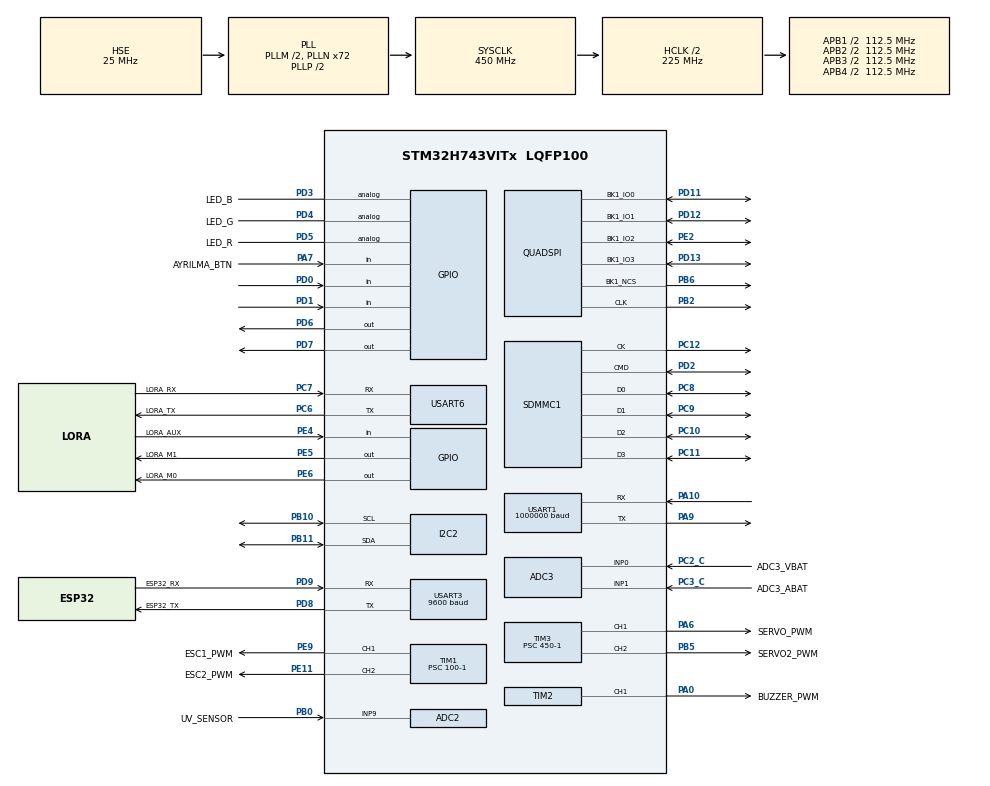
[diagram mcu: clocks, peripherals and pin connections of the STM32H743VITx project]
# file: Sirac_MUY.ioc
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ADC2.Channel-1\#ChannelRegularConversion=ADC_CHANNEL_9
ADC2.DiscontinuousConvMode=ENABLE
ADC2.NbrOfConversionFlag=1
ADC2.NbrOfDiscConversion=8
ADC2.OffsetNumber-1\#ChannelRegularConversion=ADC_OFFSET_NONE
ADC2.OffsetSignedSaturation-1\#ChannelRegularConversion=DISABLE
ADC2.Rank-1\#ChannelRegularConversion=1
ADC2.SamplingTime-1\#ChannelRegularConversion=ADC_SAMPLETIME_1CYCLE_5
ADC3.Channel-0\#ChannelRegularConversion=ADC_CHANNEL_0
ADC3.Channel-1\#ChannelRegularConversion=ADC_CHANNEL_0
ADC3.ContinuousConvMode=DISABLE
ADC3.DiscontinuousConvMode=ENABLE
ADC3.NbrOfConversion=2
ADC3.NbrOfConversionFlag=1
ADC3.NbrOfDiscConversion=8
ADC3.OffsetNumber-0\#ChannelRegularConversion=ADC_OFFSET_NONE
ADC3.OffsetNumber-1\#ChannelRegularConversion=ADC_OFFSET_NONE
ADC3.OffsetSignedSaturation-0\#ChannelRegularConversion=DISABLE
ADC3.OffsetSignedSaturation-1\#ChannelRegularConversion=DISABLE
ADC3.Rank-0\#ChannelRegularConversion=1
ADC3.Rank-1\#ChannelRegularConversion=2
ADC3.SamplingTime-0\#ChannelRegularConversion=ADC_SAMPLETIME_810CYCLES_5
ADC3.SamplingTime-1\#ChannelRegularConversion=ADC_SAMPLETIME_810CYCLES_5
CORTEX_M7.CPU_ICache=Enabled
CORTEX_M7.Enable-Cortex_Memory_Protection_Unit_Region0_Settings=MPU_REGION_ENABLE
CORTEX_M7.MPU_Control=MPU_PRIVILEGED_DEFAULT
CORTEX_M7.Size-Cortex_Memory_Protection_Unit_Region0_Settings=MPU_REGION_SIZE_4KB
Dma.Request0=USART6_RX
Dma.Request1=USART6_TX
Dma.USART6_RX.0.Direction=DMA_PERIPH_TO_MEMORY
Dma.USART6_RX.0.EventEnable=DISABLE
Dma.USART6_RX.0.FIFOMode=DMA_FIFOMODE_DISABLE
Dma.USART6_RX.0.Instance=DMA2_Stream0
Dma.USART6_RX.0.MemDataAlignment=DMA_MDATAALIGN_BYTE
Dma.USART6_RX.0.MemInc=DMA_MINC_ENABLE
Dma.USART6_RX.0.Mode=DMA_CIRCULAR
Dma.USART6_RX.0.PeriphDataAlignment=DMA_PDATAALIGN_BYTE
Dma.USART6_RX.0.PeriphInc=DMA_PINC_DISABLE
Dma.USART6_RX.0.Polarity=HAL_DMAMUX_REQ_GEN_RISING
Dma.USART6_RX.0.Priority=DMA_PRIORITY_VERY_HIGH
Dma.USART6_RX.0.RequestNumber=1
Dma.USART6_RX.0.SignalID=NONE
Dma.USART6_RX.0.SyncEnable=DISABLE
Dma.USART6_RX.0.SyncPolarity=HAL_DMAMUX_SYNC_NO_EVENT
Dma.USART6_RX.0.SyncRequestNumber=1
Dma.USART6_RX.0.SyncSignalID=NONE
Dma.USART6_TX.1.Direction=DMA_MEMORY_TO_PERIPH
Dma.USART6_TX.1.EventEnable=DISABLE
Dma.USART6_TX.1.FIFOMode=DMA_FIFOMODE_DISABLE
Dma.USART6_TX.1.Instance=DMA2_Stream1
Dma.USART6_TX.1.MemDataAlignment=DMA_MDATAALIGN_BYTE
Dma.USART6_TX.1.MemInc=DMA_MINC_ENABLE
Dma.USART6_TX.1.Mode=DMA_NORMAL
Dma.USART6_TX.1.PeriphDataAlignment=DMA_PDATAALIGN_BYTE
Dma.USART6_TX.1.PeriphInc=DMA_PINC_DISABLE
Dma.USART6_TX.1.Polarity=HAL_DMAMUX_REQ_GEN_RISING
Dma.USART6_TX.1.Priority=DMA_PRIORITY_HIGH
Dma.USART6_TX.1.RequestNumber=1
Dma.USART6_TX.1.SignalID=NONE
Dma.USART6_TX.1.SyncEnable=DISABLE
Dma.USART6_TX.1.SyncPolarity=HAL_DMAMUX_SYNC_NO_EVENT
Dma.USART6_TX.1.SyncRequestNumber=1
Dma.USART6_TX.1.SyncSignalID=NONE
FATFS._MAX_SS=4096
FREERTOS.BinarySemaphores01=uartLoraSema,Dynamic,NULL
FREERTOS.Tasks01=MotorTask,40,256,StartMotorTask,Default,NULL,Dynamic,NULL,NULL;DataComTask,32,1500,StartDataCom,Default,NULL,Dynamic,NULL,NULL;SensorsTask,48,512,StartSensors,Default,NULL,Dynamic,NULL,NULL
FREERTOS.Timers01=TelemetriTimer,TelemTimCall,osTimerOnce,Default,NULL,Dynamic,NULL;TimeoutTimer,TimeoutTimerCall,osTimerOnce,Default,selectedFlag,Dynamic,NULL;TahrikTimer,TahrikTimerCall,osTimerOnce,Default,NULL,Dynamic,NULL
FREERTOS.configENABLE_FPU=1
FREERTOS.configMINIMAL_STACK_SIZE=256
FREERTOS.configTIMER_TASK_STACK_DEPTH=512
FREERTOS.configUSE_NEWLIB_REENTRANT=1
Mcu.Family=STM32H7
Mcu.Name=STM32H743VITx
Mcu.Package=LQFP100
NVIC.DMA2_Stream0_IRQn=true\:0\:0\:false\:false\:true\:false\:false\:true\:true
NVIC.DMA2_Stream1_IRQn=true\:5\:0\:false\:false\:true\:true\:false\:true\:true
NVIC.PriorityGroup=NVIC_PRIORITYGROUP_4
NVIC.QUADSPI_IRQn=true\:5\:0\:false\:false\:true\:true\:true\:true\:true
NVIC.SDMMC1_IRQn=true\:5\:0\:false\:false\:true\:true\:true\:true\:true
NVIC.TIM8_UP_TIM13_IRQn=true\:15\:0\:false\:false\:true\:false\:false\:true\:true
NVIC.TimeBase=TIM8_UP_TIM13_IRQn
NVIC.TimeBaseIP=TIM8
NVIC.USART3_IRQn=true\:5\:0\:false\:false\:true\:true\:true\:true\:true
NVIC.USART6_IRQn=true\:5\:0\:false\:false\:true\:true\:true\:true\:true
PA0.GPIO_Label=BUZZER_PWM
PA0.Signal=S_TIM2_CH1_ETR
PA10.Mode=Asynchronous
PA10.Signal=USART1_RX
PA13\ (JTMS/SWDIO).Mode=Serial_Wire
PA13\ (JTMS/SWDIO).Signal=DEBUG_JTMS-SWDIO
PA14\ (JTCK/SWCLK).Mode=Serial_Wire
PA14\ (JTCK/SWCLK).Signal=DEBUG_JTCK-SWCLK
PA6.GPIO_Label=SERVO_PWM
PA6.Signal=S_TIM3_CH1
PA7.GPIO_Label=AYRILMA_BTN
PA7.GPIO_PuPd=GPIO_PULLUP
PA7.Signal=GPIO_Input
PA9.Mode=Asynchronous
PA9.Signal=USART1_TX
PB0.GPIO_Label=UV_SENSOR
PB0.Signal=ADCx_INP9
PB10.Mode=I2C
PB10.Signal=I2C2_SCL
PB11.Mode=I2C
PB11.Signal=I2C2_SDA
PB2.Mode=Single Bank 1
PB2.Signal=QUADSPI_CLK
PB5.GPIO_Label=SERVO2_PWM
PB5.Signal=S_TIM3_CH2
PB6.Mode=Single Bank 1
PB6.Signal=QUADSPI_BK1_NCS
PC10.Mode=SD_4_bits_Wide_bus
PC10.Signal=SDMMC1_D2
PC11.Mode=SD_4_bits_Wide_bus
PC11.Signal=SDMMC1_D3
PC12.Mode=SD_4_bits_Wide_bus
PC12.Signal=SDMMC1_CK
PC14-OSC32_IN\ (OSC32_IN).Mode=LSE-External-Oscillator
PC14-OSC32_IN\ (OSC32_IN).Signal=RCC_OSC32_IN
PC15-OSC32_OUT\ (OSC32_OUT).Mode=LSE-External-Oscillator
PC15-OSC32_OUT\ (OSC32_OUT).Signal=RCC_OSC32_OUT
PC2_C.GPIO_Label=ADC3_VBAT
PC2_C.Mode=IN0-Single-Ended
PC2_C.Signal=ADC3_INP0
PC3_C.GPIO_Label=ADC3_ABAT
PC3_C.Mode=IN1-Single-Ended
PC3_C.Signal=ADC3_INP1
PC6.GPIO_Label=LORA_TX
PC6.Mode=Asynchronous
PC6.Signal=USART6_TX
PC7.GPIO_Label=LORA_RX
PC7.Mode=Asynchronous
PC7.Signal=USART6_RX
PC8.Mode=SD_4_bits_Wide_bus
PC8.Signal=SDMMC1_D0
PC9.Mode=SD_4_bits_Wide_bus
PC9.Signal=SDMMC1_D1
PD0.GPIO_PuPd=GPIO_PULLDOWN
PD0.Signal=GPIO_Input
PD1.GPIO_PuPd=GPIO_PULLDOWN
PD1.Signal=GPIO_Input
PD11.Mode=Single Bank 1
PD11.Signal=QUADSPI_BK1_IO0
PD12.Mode=Single Bank 1
PD12.Signal=QUADSPI_BK1_IO1
PD13.Mode=Single Bank 1
PD13.Signal=QUADSPI_BK1_IO3
PD2.Mode=SD_4_bits_Wide_bus
PD2.Signal=SDMMC1_CMD
PD3.GPIO_Label=LED_B
PD3.Signal=GPIO_Analog
PD4.GPIO_Label=LED_G
PD4.Signal=GPIO_Analog
PD5.GPIO_Label=LED_R
PD5.Signal=GPIO_Analog
PD6.GPIO_PuPd=GPIO_PULLDOWN
PD6.Signal=GPIO_Output
PD7.GPIO_PuPd=GPIO_PULLDOWN
PD7.Signal=GPIO_Output
PD8.GPIO_Label=ESP32_TX
PD8.Mode=Asynchronous
PD8.Signal=USART3_TX
PD9.GPIO_Label=ESP32_RX
PD9.Mode=Asynchronous
PD9.Signal=USART3_RX
PE11.GPIO_Label=ESC2_PWM
PE11.Signal=S_TIM1_CH2
PE13.Signal=S_TIM1_CH3
PE2.Mode=Single Bank 1
PE2.Signal=QUADSPI_BK1_IO2
PE4.GPIO_Label=LORA_AUX
PE4.Signal=GPIO_Input
PE5.GPIO_Label=LORA_M1
PE5.GPIO_ModeDefaultOutputPP=GPIO_MODE_OUTPUT_PP
PE5.GPIO_PuPd=GPIO_PULLDOWN
PE5.Signal=GPIO_Output
PE6.GPIO_Label=LORA_M0
PE6.GPIO_PuPd=GPIO_PULLDOWN
PE6.Signal=GPIO_Output
PE9.GPIO_Label=ESC1_PWM
PE9.Signal=S_TIM1_CH1
PH0-OSC_IN\ (PH0).Mode=HSE-External-Oscillator
PH0-OSC_IN\ (PH0).Signal=RCC_OSC_IN
PH1-OSC_OUT\ (PH1).Mode=HSE-External-Oscillator
PH1-OSC_OUT\ (PH1).Signal=RCC_OSC_OUT
ProjectManager.HeapSize=0x400
ProjectManager.StackSize=0x800
ProjectManager.TargetToolchain=STM32CubeIDE
QUADSPI.ChipSelectHighTime=QSPI_CS_HIGH_TIME_6_CYCLE
QUADSPI.ClockPrescaler=6
QUADSPI.FifoThreshold=4
QUADSPI.FlashSize=22
QUADSPI.SampleShifting=QSPI_SAMPLE_SHIFTING_HALFCYCLE
RCC.ADCFreq_Value=37500000
RCC.APB1Freq_Value=112500000
RCC.APB2Freq_Value=112500000
RCC.APB3Freq_Value=112500000
RCC.APB4Freq_Value=112500000
RCC.CortexFreq_Value=450000000
RCC.D1PPRE=RCC_APB3_DIV2
RCC.D2PPRE1=RCC_APB1_DIV2
RCC.D2PPRE2=RCC_APB2_DIV2
RCC.D3PPRE=RCC_APB4_DIV2
RCC.DIVM1=2
RCC.DIVM2=2
RCC.DIVM3=21
RCC.DIVN1=72
RCC.DIVN2=12
RCC.DIVN3=126
RCC.DIVP2=4
RCC.DIVQ1=6
RCC.EnbaleCSS=false
RCC.FLatency-AdvancedSettings=FLASH_LATENCY_0
RCC.HCLKFreq_Value=225000000
RCC.HPRE=RCC_HCLK_DIV2
RCC.HSE_VALUE=25000000
RCC.I2C123CLockSelection=RCC_I2C123CLKSOURCE_HSI
RCC.PLL1_VCO_SEL-AdvancedSettings=RCC_PLL1VCOMEDIUM
RCC.PLL2FRACN=0
RCC.PLL2_VCI_Range-AdvancedSettings=RCC_PLL2VCIRANGE_0
RCC.PLL2_VCO_SEL-AdvancedSettings=RCC_PLL2VCOWIDE
RCC.PLL3FRACN=0
RCC.PLL3_VCI_Range-AdvancedSettings=RCC_PLL3VCIRANGE_0
RCC.PLLFRACN=0
RCC.PLLSourceVirtual=RCC_PLLSOURCE_HSE
RCC.QSPICLockSelection=RCC_QSPICLKSOURCE_PLL
RCC.SDMMC1CLockSelection=RCC_SDMMCCLKSOURCE_PLL2
RCC.SYSCLKFreq_VALUE=450000000
RCC.SYSCLKSource=RCC_SYSCLKSOURCE_PLLCLK
RCC.USART16CLockSelection=RCC_USART16CLKSOURCE_PLL2
RCC.USART234578CLockSelection=RCC_USART234578CLKSOURCE_PLL3
RCC.USBFreq_Value=150000000
SDMMC1.ClockDiv=4
SH.ADCx_INP9.0=ADC2_INP9,IN9-Single-Ended
SH.S_TIM1_CH1.0=TIM1_CH1,PWM Generation1 CH1
SH.S_TIM1_CH2.0=TIM1_CH2,PWM Generation2 CH2
SH.S_TIM1_CH3.0=TIM1_CH3
SH.S_TIM2_CH1_ETR.0=TIM2_CH1,Output Compare1 CH1
SH.S_TIM3_CH1.0=TIM3_CH1,PWM Generation1 CH1
SH.S_TIM3_CH2.0=TIM3_CH2,PWM Generation2 CH2
TIM1.AutoReloadPreload=TIM_AUTORELOAD_PRELOAD_ENABLE
TIM1.Channel-PWM\ Generation1\ CH1=TIM_CHANNEL_1
TIM1.Channel-PWM\ Generation2\ CH2=TIM_CHANNEL_2
TIM1.ClockDivision=TIM_CLOCKDIVISION_DIV1
TIM1.Period=5000-1
TIM1.Prescaler=100-1
TIM2.AutoReloadPreload=TIM_AUTORELOAD_PRELOAD_ENABLE
TIM2.Channel-Output\ Compare1\ CH1=TIM_CHANNEL_1
TIM2.OCMode_1=TIM_OCMODE_TOGGLE
TIM2.Period=48-1
TIM2.Prescaler=18000-1
TIM3.AutoReloadPreload=TIM_AUTORELOAD_PRELOAD_ENABLE
TIM3.Channel-PWM\ Generation1\ CH1=TIM_CHANNEL_1
TIM3.Channel-PWM\ Generation2\ CH2=TIM_CHANNEL_2
TIM3.Period=10000-1
TIM3.Prescaler=450-1
USART1.BaudRate=1000000
USART1.VirtualMode-Asynchronous=VM_ASYNC
USART3.AutoBaudRateEnableParam=UART_ADVFEATURE_AUTOBAUDRATE_DISABLE
USART3.BaudRate=9600
USART3.Mode=MODE_RX
USART3.RxPinLevelInvertParam=ADVFEATURE_RXINV_DISABLE
USART3.TxPinLevelInvertParam=ADVFEATURE_TXINV_DISABLE
USART3.VirtualMode-Asynchronous=VM_ASYNC
USART6.VirtualMode=VM_ASYNC
VP_FATFS_VS_SDIO.Mode=SDIO
VP_FREERTOS_VS_CMSIS_V2.Mode=CMSIS_V2
VP_RTC_VS_RTC_Activate.Mode=RTC_Enabled
VP_SYS_VS_tim8.Mode=TIM8
VP_TIM1_VS_ClockSourceINT.Mode=Internal
VP_TIM2_VS_ClockSourceINT.Mode=Internal
VP_TIM3_VS_ClockSourceINT.Mode=Internal
board=custom

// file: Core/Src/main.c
/* USER CODE BEGIN Header */
/**
 ******************************************************************************
 * @file           : main.c
 * @brief          : Main program body
 ******************************************************************************
 * @attention
 *
 * Copyright (c) 2022 STMicroelectronics.
 * All rights reserved.
 *
 * This software is licensed under terms that can be found in the LICENSE file
 * in the root directory of this software component.
 * If no LICENSE file comes with this software, it is provided AS-IS.
 *
 ******************************************************************************
 */
/* USER CODE END Header */
#include "main.h"
#include "cmsis_os.h"
#include "adc.h"
#include "dma.h"
#include "fatfs.h"
#include "i2c.h"
#include "quadspi.h"
#include "rtc.h"
#include "sdmmc.h"
#include "tim.h"
#include "usart.h"
#include "gpio.h"

/* USER CODE BEGIN Includes */
#include "string.h"
#include "userDef/userDef.h"
#include <math.h>
#include "stdlib.h"

/* USER CODE END Includes */

/* USER CODE BEGIN PTD */
uint8_t gps_rx_i = 0, gps_rx_d = 0, esp_rx_i = 0, esp_rx_d = 0, lora_rx_i = 0,
		lora_rx_d = 0, gpsFlag = 0, espFlag = 0, loraFlag = 0,
		gpsGroundAltFlag = 0;

ModelUydu_typedef siracUydu = { .ArmDurumu = DISARM, .PilGerilimi = 0.0f,
		.ayrilmaDurumu = AYRILMADI, .donanimDurumu = 1023, .motorKontrolDurumu =
				DEVRE_DISI, .uyduDurumu = BEKLEME };
TimersFlag_typedef timersFlag;

//uint8_t GPS_line[MINMEA_MAX_LENGTH + 1];
uint8_t ESP_line[ESP32_MAX_LENGTH + 1];
uint8_t LORA_line[LORA_MAX_LENGTH + 1];

UartFlags_typedef uartFlag;

FIL fileSD;
FATFS fatfsSD;
/* USER CODE END PTD */

void SystemClock_Config(void);
void PeriphCommonClock_Config(void);
static void MPU_Config(void);
void MX_FREERTOS_Init(void);

/* USER CODE BEGIN 0 */
int _write(int file, char *ptr, int len) {
	HAL_UART_Transmit(&huart1, (uint8_t*) ptr, len, 100);
	return len;
}

void HAL_UART_RxCpltCallback(UART_HandleTypeDef *huart) {
	BaseType_t xHigherPriorityTaskWoken = pdFALSE;

	if (huart == &huart3) {
		if (esp_rx_d != '\n' && esp_rx_i < sizeof(ESP_line)) //Read until end of senctence
				{
			ESP_line[esp_rx_i++] = esp_rx_d;
		} else {
			/*******Reset variables*********/
			//SET_FLAG(uartFlag, UART_ESP);
		}
		HAL_UART_Receive_IT(&huart3, &esp_rx_d, 1);	//Receive GPS char on every interrupt
	}
	portYIELD_FROM_ISR(xHigherPriorityTaskWoken);

}

void HAL_UARTEx_RxEventCallback(UART_HandleTypeDef *huart, uint16_t Size) {

	BaseType_t xHigherPriorityTaskWoken = pdFALSE;
	if (huart == LORA_UART) {
		HAL_UART_DMAStop(LORA_UART);
		SET_FLAG(uartFlag, UART_LORA);
	}
	portYIELD_FROM_ISR(xHigherPriorityTaskWoken);

}

void enableINT() {
	HAL_UARTEx_ReceiveToIdle_DMA(LORA_UART, LORA_line, LORA_MAX_LENGTH);
	__HAL_DMA_DISABLE_IT(&hdma_usart6_rx, DMA_IT_HT);
	/*
	 HAL_UARTEx_ReceiveToIdle_DMA(ESP_UART, ESP_line, ESP32_MAX_LENGTH);
	 __HAL_DMA_DISABLE_IT(&hdma_usart3_rx, DMA_IT_HT);
	 */
	HAL_UART_Receive_IT(&huart3, &esp_rx_d, 1); //Enable UART INT for gps
}

void enableHardware() {
	enableBaro();
	enableFlash();
//EraseFlash(1);
	enableSD();
	getPacketNum();
	getFlightState();
	enableGPS();
	enableIMU();
	enableUV();
	enableINT();
	enableTelemetry();
	vbat_ADC_Calibrate();
	kalmanFilter4d_configure(KF_ACCELBIAS_VARIANCE, KF_ADAPT,
			siracUydu.sensorVerisi.irtifHizVerisi.Altitude_cm, 0.0f, 0.0f);
//check ground station;

	siracUydu.ESP32Durumu.WifiSinyalGucu = 0;
	siracUydu.ESP32Durumu.videoPaketBilgisi.AktarilmaBilgisi =
	VIDEO_AKTARILAMADI;
	siracUydu.ESP32Durumu.videoPaketBilgisi.DosyaBoyutu = 0;

	siracUydu.sensorVerisi.kararAraliklari.BeklemedeYukseklik_max = 5;

	siracUydu.sensorVerisi.kararAraliklari.InisHizi_max =
	ASKIDAN_ONCE_INIS_HIZI_MAX;
	siracUydu.sensorVerisi.kararAraliklari.InisHizi_min =
	ASKIDAN_ONCE_INIS_HIZI_MIN;

	siracUydu.sensorVerisi.kararAraliklari.PilGerilimi_max = 4.2 * 3;
	siracUydu.sensorVerisi.kararAraliklari.PilGerilimi_min = 2.7 * 3;

	siracUydu.telemetri.GY_telemetriVeriDurumu = TELEMETRI_VERISI_GEREKLI;
	strcpy(siracUydu.telemetri.tasiyiciTelemetri.gps2,
			"0.00000000,0.00000000,0.0");
	siracUydu.telemetri.tasiyiciTelemetri.YerYukseklik = 0.0f;
	siracUydu.telemetri.tasiyiciTelemetri.detect = 0;
}

void checkSensorHealth() {
	if (siracUydu.sensorVerisi.irtifHizVerisi.RelativeAltitude_m
			< SAGLIKLI_YUKSEKLIK_MIN
			|| siracUydu.sensorVerisi.irtifHizVerisi.RelativeAltitude_m
					> SAGLIKLI_YUKSEKLIK_MAX)
		SET_SENS_ERR(siracUydu.sensorVerisi.sensorVeriSagligi,
				yukseklik_aralik_disinda);
	if (siracUydu.sensorVerisi.baro.Pres_hpa < SAGLIKLI_BASINC_MIN
			|| siracUydu.sensorVerisi.baro.Pres_hpa > SAGLIKLI_BASINC_MAX)
		SET_SENS_ERR(siracUydu.sensorVerisi.sensorVeriSagligi,
				basinc_aralik_disinda);
	if (siracUydu.sensorVerisi.irtifHizVerisi.KFClimbrateMps
			< SAGLIKLI_DIKEYHIZ_MIN
			|| siracUydu.sensorVerisi.irtifHizVerisi.KFClimbrateMps
					> SAGLIKLI_DIKEYHIZ_MAX)
		SET_SENS_ERR(siracUydu.sensorVerisi.sensorVeriSagligi,
				dikeyHiz_aralik_disinda);
	if (siracUydu.sensorVerisi.imu.pitch < SAGLIKLI_PITCH_MIN
			|| siracUydu.sensorVerisi.imu.pitch > SAGLIKLI_PITCH_MAX)
		SET_SENS_ERR(siracUydu.sensorVerisi.sensorVeriSagligi,
				pitch_aralik_disinda);
	if (siracUydu.sensorVerisi.imu.roll < SAGLIKLI_ROLL_MIN
			|| siracUydu.sensorVerisi.imu.roll > SAGLIKLI_ROLL_MAX)
		SET_SENS_ERR(siracUydu.sensorVerisi.sensorVeriSagligi,
				roll_aralik_disinda);
	if (siracUydu.sensorVerisi.baro.Temp_C < SAGLIKLI_SICAKLIK_MIN
			|| siracUydu.sensorVerisi.baro.Temp_C > SAGLIKLI_SICAKLIK_MAX)
		SET_SENS_ERR(siracUydu.sensorVerisi.sensorVeriSagligi,
				sicaklik_aralik_disinda);
}

void HeartBeat() {
	checkSensorHealth();
	char buff[10];
	snprintf(buff, 10, "%d,%d", siracUydu.donanimDurumu,
			siracUydu.sensorVerisi.sensorVeriSagligi);
	strcat(siracUydu.telemetri.telemetriPaketi, buff);
}

void findFlightState() {
	switch (siracUydu.uyduDurumu) {
	case BEKLEME:
		sprintf(siracUydu.telemetri.uyduStatu, "%s", "Bekleme");
		if (siracUydu.ArmDurumu
				& (siracUydu.sensorVerisi.irtifHizVerisi.RelativeAltitude_m
						> YUKSELME_IRTIFA_TETIKLEME
						&& siracUydu.sensorVerisi.irtifHizVerisi.KFClimbrateMps
								> YUKSELME_HIZ_TETIKLEME)) {
			siracUydu.uyduDurumu = YUKSELME;
		}
		break;

	case YUKSELME:
		sprintf(siracUydu.telemetri.uyduStatu, "%s", "Yukselme");

		if (siracUydu.sensorVerisi.irtifHizVerisi.KFClimbrateMps < 0
				&& siracUydu.sensorVerisi.irtifHizVerisi.RelativeAltitude_m
						< siracUydu.sensorVerisi.irtifHizVerisi.PrevAltitude_m) {
			siracUydu.uyduDurumu = MU_INIS;
		}

		break;

	case MU_INIS:
		sprintf(siracUydu.telemetri.uyduStatu, "%s", "MUinis");
		if (				siracUydu.sensorVerisi.irtifHizVerisi.RelativeAltitude_m<AYRILMA_YUKSEKLIGI_MAX) {
			siracUydu.uyduDurumu = AYRILMA;
			CLEAR_FLAG(timersFlag, AyrilmaTimeoutFlag);
		}
		break;

	case AYRILMA:
		sprintf(siracUydu.telemetri.uyduStatu, "%s", "Ayrilma");
		servoTahrik(SERVO_KAPAT);
		//startTimer
		if (!osTimerIsRunning(TimeoutTimerHandle)) {
			selectedFlag = AyrilmaTimeoutFlag;
			osTimerStart(TimeoutTimerHandle,
					pdMS_TO_TICKS(AYRILMA_SURESI_MAX_MS));
		}
		if (siracUydu.ayrilmaDurumu
				!= AYRILDI&& !CHECK_FLAG(timersFlag,AyrilmaTimeoutFlag)) //timer interrupt ile tetiklenecek
				{
			if (HAL_GPIO_ReadPin(AYRILMA_BTN_GPIO_Port, AYRILMA_BTN_Pin)
					== GPIO_PIN_SET) {
				osTimerStop(TimeoutTimerHandle);
				siracUydu.ayrilmaDurumu = AYRILDI;
				siracUydu.uyduDurumu = GY_INIS1;
			}
		}
		if (CHECK_FLAG(timersFlag, AyrilmaTimeoutFlag)) {
			siracUydu.ayrilmaDurumu = MANUEL_AYRILMA_GEREKLI;
			servoTahrik(SERVO_KAPAT);
			_managedDelay(1000);
			servoTahrik(SERVO_AC);
			CLEAR_FLAG(timersFlag, AyrilmaTimeoutFlag);
			_managedDelay(1000);
			if (HAL_GPIO_ReadPin(AYRILMA_BTN_GPIO_Port, AYRILMA_BTN_Pin)
					== GPIO_PIN_SET) {
				siracUydu.ayrilmaDurumu = AYRILDI;
				siracUydu.uyduDurumu = GY_INIS1;
				CLEAR_FLAG(timersFlag, AyrilmaTimeoutFlag);
			}
		}
		break;

	case GY_INIS1:
		sprintf(siracUydu.telemetri.uyduStatu, "%s", "GYinis");
		siracUydu.sensorVerisi.kararAraliklari.InisHizi_max =
		ASKIDAN_ONCE_INIS_HIZI_MAX;
		siracUydu.sensorVerisi.kararAraliklari.InisHizi_min =
		ASKIDAN_ONCE_INIS_HIZI_MIN;
		siracUydu.sensorVerisi.kararAraliklari.InisHizi =
		ASKIDAN_ONCE_INIS_HIZI;
		HAL_Delay(1000);
		siracUydu.motorKontrolDurumu = OTOMATIK_INIS;

		if (siracUydu.sensorVerisi.irtifHizVerisi.RelativeAltitude_m
				<= ASKI_GOREV_BASLAMA_YUKSEKLIGI_MAX) {
			siracUydu.uyduDurumu = ASKIDA;
			CLEAR_FLAG(timersFlag, AskiTimeoutFlag);
			selectedFlag = AskiTimeoutFlag;
			siracUydu.sensorVerisi.kararAraliklari.InisHizi_max =
			ASKIDA_INIS_HIZI_MAX;
			siracUydu.sensorVerisi.kararAraliklari.InisHizi_min =
			ASKIDA_INIS_HIZI_MIN;
			siracUydu.sensorVerisi.kararAraliklari.InisHizi = ASKIDA_INIS_HIZI;
		}
		break;

	case ASKIDA:
		if (!osTimerIsRunning(
				TimeoutTimerHandle) && !CHECK_FLAG(timersFlag, AskiTimeoutFlag)) {
			osTimerStart(TimeoutTimerHandle, pdMS_TO_TICKS(10 * 1000));
		}
		if (CHECK_FLAG(timersFlag, AskiTimeoutFlag)) {
			siracUydu.uyduDurumu = GY_INIS2;
			siracUydu.sensorVerisi.kararAraliklari.InisHizi_max =
			ASKIDAN_SONRA_INIS_HIZI_MAX;
			siracUydu.sensorVerisi.kararAraliklari.InisHizi_min =
			ASKIDAN_SONRA_INIS_HIZI_MIN;
			siracUydu.sensorVerisi.kararAraliklari.InisHizi =
			ASKIDAN_SONRA_INIS_HIZI;
		}
		break;

	case GY_INIS2:
		sprintf(siracUydu.telemetri.uyduStatu, "%s", "GYinis");
		siracUydu.motorKontrolDurumu = OTOMATIK_INIS;
		if (siracUydu.sensorVerisi.irtifHizVerisi.RelativeAltitude_m
				< KONTROLLU_INIS_BASLAMA_YUKSEKLIGI) {
			siracUydu.uyduDurumu = KONTROLLU_INIS;
			siracUydu.sensorVerisi.kararAraliklari.InisHizi_max =
			KONTROLLU_INIS_HIZI_MAX;
			siracUydu.sensorVerisi.kararAraliklari.InisHizi_min =
			KONTROLLU_INIS_HIZI_MIN;
			siracUydu.sensorVerisi.kararAraliklari.InisHizi =
			KONTROLLU_INIS_HIZI;
		}
		break;

	case KONTROLLU_INIS:
		sprintf(siracUydu.telemetri.uyduStatu, "%s", "Kinis");
		if (siracUydu.sensorVerisi.irtifHizVerisi.RelativeAltitude_m < 5) {
			siracUydu.motorKontrolDurumu = DEVRE_DISI;
			siracUydu.uyduDurumu = KURTARMA;
		}
		break;

	case KURTARMA:
		sprintf(siracUydu.telemetri.uyduStatu, "%s", "Kurtarma");
		selectedFlag = kurtarmaTelemetriTimeoutFlag;
		playRescue();
		if (!osTimerIsRunning(
				TimeoutTimerHandle) && !CHECK_FLAG(timersFlag, kurtarmaTelemetriTimeoutFlag)) {
			osTimerStart(TimeoutTimerHandle, pdMS_TO_TICKS(60 * 1000));
		}
		if (CHECK_FLAG(timersFlag, kurtarmaTelemetriTimeoutFlag)) {
			siracUydu.telemetri.GY_telemetriVeriDurumu =
					TELEMETRI_VERISI_GEREKLI_DEGIL;
			osTimerStop(TelemetriTimerHandle);
		}
		break;
	}
}

void sendTelem() {
	char telemPacket1[95] = { '\0' };
	RTC_TimeTypeDef time;
	RTC_DateTypeDef date;
	HAL_RTC_GetTime(&hrtc, &time, RTC_FORMAT_BIN);
	HAL_RTC_GetDate(&hrtc, &date, RTC_FORMAT_BIN);
	char telemP[250] = { '\0' };
	int siz = 0;
	siz = snprintf((char*) telemPacket1, 90,
			"467710,%d,%02d/%02d/%d %02d:%02d:%02d",
			siracUydu.telemetri.paketNo, date.Date, date.Month, date.Year,
			time.Hours, time.Minutes, time.Seconds);
	LoRaE22_sendStruct((uint8_t*) telemPacket1, siz);

	siz = snprintf((char*) telemPacket1, 90, ",%.2f,%.2f,%.2f,%.2f",
			siracUydu.sensorVerisi.baro.avgPres_hpa * (float) 100.0f,
			siracUydu.telemetri.tasiyiciTelemetri.basinc,
			siracUydu.sensorVerisi.irtifHizVerisi.RelativeAltitude_m,
			siracUydu.telemetri.tasiyiciTelemetri.yukseklik);
	LoRaE22_sendStruct((uint8_t*) telemPacket1, siz);

	siz = snprintf((char*) telemPacket1, 90, ",%.2f,%.2f,%.2f,%.1f",
			fabs(
					siracUydu.sensorVerisi.irtifHizVerisi.RelativeAltitude_m
							- siracUydu.telemetri.tasiyiciTelemetri.yukseklik),
			siracUydu.sensorVerisi.irtifHizVerisi.KFClimbrateMps,
			siracUydu.sensorVerisi.baro.Temp_C, siracUydu.PilGerilimi);
	LoRaE22_sendStruct((uint8_t*) telemPacket1, siz);

	siz = snprintf((char*) telemPacket1, 90, ",%.8f,%.8f,%.2f",
			siracUydu.sensorVerisi.gps.latitude,
			siracUydu.sensorVerisi.gps.longitude,
			siracUydu.sensorVerisi.gps.altitude);
	LoRaE22_sendStruct((uint8_t*) telemPacket1, siz);

	siz = snprintf((char*) telemPacket1, 90, ",%s,%s",
			siracUydu.telemetri.tasiyiciTelemetri.gps2,
			siracUydu.telemetri.uyduStatu);
	LoRaE22_sendStruct((uint8_t*) telemPacket1, siz);

	siz = snprintf((char*) telemPacket1, 90, ",%.2f,%.2f,%.2f,%d,%s,",
			siracUydu.sensorVerisi.imu.pitch, siracUydu.sensorVerisi.imu.roll,
			siracUydu.sensorVerisi.imu.yaw, siracUydu.telemetri.donusSayisi,
			siracUydu.ESP32Durumu.videoPaketBilgisi.AktarilmaBilgisi ?
					"EVET" : "HAYIR");
	LoRaE22_sendStruct((uint8_t*) telemPacket1, siz);

	siz = snprintf((char*) telemPacket1, 90, "%.2f,%d,%d,%d,%d\n",
			siracUydu.sensorVerisi.UV_sensor,
			siracUydu.ESP32Durumu.WifiSinyalGucu, siracUydu.ArmDurumu,
			siracUydu.donanimDurumu, siracUydu.ayrilmaDurumu);
	LoRaE22_sendStruct((uint8_t*) telemPacket1, siz);

	sprintf(siracUydu.telemetri.telemetriPaketi,
			"467710,%d,%02d/%02d/%d %02d:%02d:%02d,%.2f,%.2f,%.2f,%.2f,%.2f,%.2f,%.2f,%.1f,%.8f,%.8f,%.2f,%s,%s,%.2f,%.2f,%.2f,%d,%s\n",
			siracUydu.telemetri.paketNo, date.Date, date.Month, date.Year,
			time.Hours, time.Minutes, time.Seconds,
			siracUydu.sensorVerisi.baro.avgPres_hpa * (float) 100.0f,
			siracUydu.telemetri.tasiyiciTelemetri.basinc,
			siracUydu.sensorVerisi.irtifHizVerisi.RelativeAltitude_m,
			siracUydu.telemetri.tasiyiciTelemetri.yukseklik,
			fabs(
					siracUydu.sensorVerisi.irtifHizVerisi.RelativeAltitude_m
							- siracUydu.telemetri.tasiyiciTelemetri.yukseklik),
			siracUydu.sensorVerisi.irtifHizVerisi.KFClimbrateMps,
			siracUydu.sensorVerisi.baro.Temp_C, siracUydu.PilGerilimi,
			siracUydu.sensorVerisi.gps.latitude,
			siracUydu.sensorVerisi.gps.longitude,
			siracUydu.sensorVerisi.gps.altitude,
			siracUydu.telemetri.tasiyiciTelemetri.gps2,
			siracUydu.telemetri.uyduStatu, siracUydu.sensorVerisi.imu.pitch,
			siracUydu.sensorVerisi.imu.roll, siracUydu.sensorVerisi.imu.yaw,
			siracUydu.telemetri.donusSayisi,
			siracUydu.ESP32Durumu.videoPaketBilgisi.AktarilmaBilgisi ?
					"EVET" : "HAYIR");
	return;
}
uint8_t ilkAcilma = 1;
void saveToSD() {
	uint32_t byteswritten;
	f_open(&fileSD, FILE_NAME, FA_OPEN_APPEND | FA_WRITE);
	if (ilkAcilma) {
		char *a =
				"Takim no,Paket no,Gonderim saati,Basinc1,Basinc2,Yukseklik1,Yukseklik2,Irtifa farki,Inis hizi,Sicaklik,Pil gerilimi,GPS1 Latitude,GPS1 Longitude,GPS1 Altitude,GPS2 Latitude,GPS2 Longitude,GPS2 Altitude,Uydu statusu,Pitch,Roll,Yaw,Donus sayisi,Video aktarimi\n";
		f_write(&fileSD, a, strlen(a), (void*) &byteswritten);
		ilkAcilma = 0;
	}
	f_write(&fileSD, siracUydu.telemetri.telemetriPaketi,
			strlen((char*) siracUydu.telemetri.telemetriPaketi),
			(void*) &byteswritten);
	f_close(&fileSD);
	return;
}

void PID(float measurement, float setpoint, uint8_t dt) {
	float err = setpoint - measurement;

	float proportional = PID_Kp * err;

	PID1.integrator = PID1.integrator
			+ 0.5 * PID_Ki * dt * (err + PID1.prevErr);

	if (PID1.integrator > PID1.limMax) {
		PID1.integrator = PID1.limMax;
	} else if (PID1.integrator < PID1.limMin) {
		PID1.integrator = PID1.limMin;
	}

	PID1.differentiator = -(2.0 * PID_Kd * (measurement - PID1.prevMeas)
			+ (2.0 * PID_tau - dt) * PID1.differentiator)
			/ (2.0 * PID_tau + dt);

	PID1.pwm = proportional + PID1.integrator + PID1.differentiator;

	if (PID1.pwm > PID1.limMax) {
		PID1.pwm = PID1.limMax;
	} else if (PID1.pwm < PID1.limMin) {
		PID1.pwm = PID1.limMin;
	} else {
		PID1.pwm = (int) round(PID1.pwm);
	}

	PID1.prevErr = err;
	PID1.prevMeas = measurement;
	return;
}
/* USER CODE END 0 */

int main(void) {

	/* MPU Configuration--------------------------------------------------------*/
	MPU_Config();

	/* Enable I-Cache---------------------------------------------------------*/
	SCB_EnableICache();

	/* MCU Configuration--------------------------------------------------------*/

	/* Reset of all peripherals , Initializes the Flash interface and the Systick. */
	HAL_Init();

	/* Configure the system clock */
	SystemClock_Config();

	/* Configure the peripherals common clocks */
	PeriphCommonClock_Config();

	/* Initialize all configured peripherals */
	MX_GPIO_Init();
	MX_DMA_Init();
	MX_ADC3_Init();
	MX_I2C2_Init();
	MX_QUADSPI_Init();
	MX_RTC_Init();
	MX_SDMMC1_SD_Init();
	MX_TIM1_Init();
	MX_TIM2_Init();
	MX_TIM3_Init();
	MX_USART1_UART_Init();
	MX_USART3_UART_Init();
	MX_USART6_UART_Init();
	MX_FATFS_Init();
	MX_ADC2_Init();
	/* USER CODE BEGIN 2 */
	playStartSystem();
	/* USER CODE END 2 */

	/* Init scheduler */
	osKernelInitialize(); /* Call init function for freertos objects (in freertos.c) */
	MX_FREERTOS_Init();

	/* Start scheduler */
	osKernelStart();

	/* We should never get here as control is now taken by the scheduler */
	/* Infinite loop */
	while (1) {

	}
}

void SystemClock_Config(void) {
	RCC_OscInitTypeDef RCC_OscInitStruct = { 0 };
	RCC_ClkInitTypeDef RCC_ClkInitStruct = { 0 };

	/** Supply configuration update enable
	 */
	HAL_PWREx_ConfigSupply(PWR_LDO_SUPPLY);

	/** Configure the main internal regulator output voltage
	 */
	__HAL_PWR_VOLTAGESCALING_CONFIG(PWR_REGULATOR_VOLTAGE_SCALE1);

	while (!__HAL_PWR_GET_FLAG(PWR_FLAG_VOSRDY)) {
	}

	__HAL_RCC_SYSCFG_CLK_ENABLE();
	__HAL_PWR_VOLTAGESCALING_CONFIG(PWR_REGULATOR_VOLTAGE_SCALE0);

	while (!__HAL_PWR_GET_FLAG(PWR_FLAG_VOSRDY)) {
	}

	/** Macro to configure the PLL clock source
	 */
	__HAL_RCC_PLL_PLLSOURCE_CONFIG(RCC_PLLSOURCE_HSE);

	/** Initializes the RCC Oscillators according to the specified parameters
	 * in the RCC_OscInitTypeDef structure.
	 */
	RCC_OscInitStruct.OscillatorType = RCC_OSCILLATORTYPE_HSI
			| RCC_OSCILLATORTYPE_LSI | RCC_OSCILLATORTYPE_HSE;
	RCC_OscInitStruct.HSEState = RCC_HSE_ON;
	RCC_OscInitStruct.HSIState = RCC_HSI_DIV1;
	RCC_OscInitStruct.HSICalibrationValue = RCC_HSICALIBRATION_DEFAULT;
	RCC_OscInitStruct.LSIState = RCC_LSI_ON;
	RCC_OscInitStruct.PLL.PLLState = RCC_PLL_ON;
	RCC_OscInitStruct.PLL.PLLSource = RCC_PLLSOURCE_HSE;
	RCC_OscInitStruct.PLL.PLLM = 2;
	RCC_OscInitStruct.PLL.PLLN = 72;
	RCC_OscInitStruct.PLL.PLLP = 2;
	RCC_OscInitStruct.PLL.PLLQ = 6;
	RCC_OscInitStruct.PLL.PLLR = 2;
	RCC_OscInitStruct.PLL.PLLRGE = RCC_PLL1VCIRANGE_3;
	RCC_OscInitStruct.PLL.PLLVCOSEL = RCC_PLL1VCOWIDE;
	RCC_OscInitStruct.PLL.PLLFRACN = 0;
	if (HAL_RCC_OscConfig(&RCC_OscInitStruct) != HAL_OK) {
		Error_Handler();
	}

	/** Initializes the CPU, AHB and APB buses clocks
	 */
	RCC_ClkInitStruct.ClockType = RCC_CLOCKTYPE_HCLK | RCC_CLOCKTYPE_SYSCLK
			| RCC_CLOCKTYPE_PCLK1 | RCC_CLOCKTYPE_PCLK2 | RCC_CLOCKTYPE_D3PCLK1
			| RCC_CLOCKTYPE_D1PCLK1;
	RCC_ClkInitStruct.SYSCLKSource = RCC_SYSCLKSOURCE_PLLCLK;
	RCC_ClkInitStruct.SYSCLKDivider = RCC_SYSCLK_DIV1;
	RCC_ClkInitStruct.AHBCLKDivider = RCC_HCLK_DIV2;
	RCC_ClkInitStruct.APB3CLKDivider = RCC_APB3_DIV2;
	RCC_ClkInitStruct.APB1CLKDivider = RCC_APB1_DIV2;
	RCC_ClkInitStruct.APB2CLKDivider = RCC_APB2_DIV2;
	RCC_ClkInitStruct.APB4CLKDivider = RCC_APB4_DIV2;

	if (HAL_RCC_ClockConfig(&RCC_ClkInitStruct, FLASH_LATENCY_3) != HAL_OK) {
		Error_Handler();
	}
}

void PeriphCommonClock_Config(void) {
	RCC_PeriphCLKInitTypeDef PeriphClkInitStruct = { 0 };

	/** Initializes the peripherals clock
	 */
	PeriphClkInitStruct.PeriphClockSelection = RCC_PERIPHCLK_ADC
			| RCC_PERIPHCLK_SDMMC | RCC_PERIPHCLK_USART1 | RCC_PERIPHCLK_USART6;
	PeriphClkInitStruct.PLL2.PLL2M = 2;
	PeriphClkInitStruct.PLL2.PLL2N = 12;
	PeriphClkInitStruct.PLL2.PLL2P = 4;
	PeriphClkInitStruct.PLL2.PLL2Q = 2;
	PeriphClkInitStruct.PLL2.PLL2R = 2;
	PeriphClkInitStruct.PLL2.PLL2RGE = RCC_PLL2VCIRANGE_3;
	PeriphClkInitStruct.PLL2.PLL2VCOSEL = RCC_PLL2VCOMEDIUM;
	PeriphClkInitStruct.PLL2.PLL2FRACN = 0;
	PeriphClkInitStruct.SdmmcClockSelection = RCC_SDMMCCLKSOURCE_PLL2;
	PeriphClkInitStruct.Usart16ClockSelection = RCC_USART16CLKSOURCE_PLL2;
	PeriphClkInitStruct.AdcClockSelection = RCC_ADCCLKSOURCE_PLL2;
	if (HAL_RCCEx_PeriphCLKConfig(&PeriphClkInitStruct) != HAL_OK) {
		Error_Handler();
	}
}

/* MPU Configuration */

void MPU_Config(void) {
	MPU_Region_InitTypeDef MPU_InitStruct = { 0 };

	/* Disables the MPU */
	HAL_MPU_Disable();

	/** Initializes and configures the Region and the memory to be protected
	 */
	MPU_InitStruct.Enable = MPU_REGION_ENABLE;
	MPU_InitStruct.Number = MPU_REGION_NUMBER0;
	MPU_InitStruct.BaseAddress = 0x0;
	MPU_InitStruct.Size = MPU_REGION_SIZE_4KB;
	MPU_InitStruct.SubRegionDisable = 0x0;
	MPU_InitStruct.TypeExtField = MPU_TEX_LEVEL0;
	MPU_InitStruct.AccessPermission = MPU_REGION_NO_ACCESS;
	MPU_InitStruct.DisableExec = MPU_INSTRUCTION_ACCESS_ENABLE;
	MPU_InitStruct.IsShareable = MPU_ACCESS_NOT_SHAREABLE;
	MPU_InitStruct.IsCacheable = MPU_ACCESS_NOT_CACHEABLE;
	MPU_InitStruct.IsBufferable = MPU_ACCESS_NOT_BUFFERABLE;

	HAL_MPU_ConfigRegion(&MPU_InitStruct);
	/* Enables the MPU */
	HAL_MPU_Enable(MPU_PRIVILEGED_DEFAULT);

}

void HAL_TIM_PeriodElapsedCallback(TIM_HandleTypeDef *htim) {
	if (htim->Instance == TIM8) {
		HAL_IncTick();
	}
}

void Error_Handler(void) {
	__disable_irq();
	while (1) {
	}
}

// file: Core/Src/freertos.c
/* USER CODE BEGIN Header */
/**
 ******************************************************************************
 * File Name          : freertos.c
 * Description        : Code for freertos applications
 ******************************************************************************
 * @attention
 *
 * Copyright (c) 2022 STMicroelectronics.
 * All rights reserved.
 *
 * This software is licensed under terms that can be found in the LICENSE file
 * in the root directory of this software component.
 * If no LICENSE file comes with this software, it is provided AS-IS.
 *
 ******************************************************************************
 */
/* USER CODE END Header */

#include "FreeRTOS.h"
#include "task.h"
#include "main.h"
#include "cmsis_os.h"

/* USER CODE BEGIN Includes */
#include "userDef/userDef.h"
/* USER CODE END Includes */

/* USER CODE BEGIN PD */
TimersFlag_typedef selectedFlag;
/* USER CODE END PD */

/* USER CODE BEGIN PM */
int t1 = 0, t2, t21 = 0, t22, dt1, dt2;
/* USER CODE END PM */

/* Definitions for MotorTask */
osThreadId_t MotorTaskHandle;
const osThreadAttr_t MotorTask_attributes = { .name = "MotorTask", .stack_size =
		256 * 4, .priority = (osPriority_t) osPriorityHigh, };
/* Definitions for DataComTask */
osThreadId_t DataComTaskHandle;
const osThreadAttr_t DataComTask_attributes =
		{ .name = "DataComTask", .stack_size = 1500 * 4, .priority =
				(osPriority_t) osPriorityAboveNormal, };
/* Definitions for SensorsTask */
osThreadId_t SensorsTaskHandle;
const osThreadAttr_t SensorsTask_attributes = { .name = "SensorsTask",
		.stack_size = 512 * 4, .priority = (osPriority_t) osPriorityRealtime, };
/* Definitions for TelemetriTimer */
osTimerId_t TelemetriTimerHandle;
const osTimerAttr_t TelemetriTimer_attributes = { .name = "TelemetriTimer" };
/* Definitions for TimeoutTimer */
osTimerId_t TimeoutTimerHandle;
const osTimerAttr_t TimeoutTimer_attributes = { .name = "TimeoutTimer" };
/* Definitions for TahrikTimer */
osTimerId_t TahrikTimerHandle;
const osTimerAttr_t TahrikTimer_attributes = { .name = "TahrikTimer" };
/* Definitions for uartLoraSema */
osSemaphoreId_t uartLoraSemaHandle;
const osSemaphoreAttr_t uartLoraSema_attributes = { .name = "uartLoraSema" };

void StartMotorTask(void *argument);
void StartDataCom(void *argument);
void StartSensors(void *argument);
void TelemTimCall(void *argument);
void TimeoutTimerCall(void *argument);
void TahrikTimerCall(void *argument);

void MX_FREERTOS_Init(void); /* (MISRA C 2004 rule 8.1) */

void MX_FREERTOS_Init(void) {

	/* Create the semaphores(s) */
	/* creation of uartLoraSema */
	uartLoraSemaHandle = osSemaphoreNew(1, 1, &uartLoraSema_attributes);

	/* Create the timer(s) */
	/* creation of TelemetriTimer */
	TelemetriTimerHandle = osTimerNew(TelemTimCall, osTimerOnce, NULL,
			&TelemetriTimer_attributes);

	/* creation of TimeoutTimer */
	TimeoutTimerHandle = osTimerNew(TimeoutTimerCall, osTimerOnce,
			(void*) selectedFlag, &TimeoutTimer_attributes);

	/* creation of TahrikTimer */
	TahrikTimerHandle = osTimerNew(TahrikTimerCall, osTimerOnce, NULL,
			&TahrikTimer_attributes);

	/* Create the thread(s) */
	/* creation of MotorTask */
	MotorTaskHandle = osThreadNew(StartMotorTask, NULL, &MotorTask_attributes);

	/* creation of DataComTask */
	DataComTaskHandle = osThreadNew(StartDataCom, NULL,
			&DataComTask_attributes);

	/* creation of SensorsTask */
	SensorsTaskHandle = osThreadNew(StartSensors, NULL,
			&SensorsTask_attributes);

}

void StartMotorTask(void *argument) {
	/* USER CODE BEGIN StartMotorTask */

	/*
	 * ESC1 ve ESC2 PWM baslatilmali arm ile yapilabilir;
	 */
	int dt;
	uint32_t clockPrevious, clockNow;
	HAL_TIM_PWM_Start(&SERVO_HTIM, SERVO2_CHN);
	servoTahrik(SERVO_KAPAT);
	MotorKontrol_typedef prevKontrol = siracUydu.motorKontrolDurumu;
//	uint16_t a = uxTaskGetStackHighWaterMark(NULL);
	/*
	 * STACK SIZE 232
	 */
	//ESCcalibration();
	/* Infinite loop */
	for (;;) {
		if (siracUydu.uyduDurumu >= GY_INIS1) {
			if (siracUydu.sensorVerisi.imu.roll >= 90
					|| siracUydu.sensorVerisi.imu.pitch >= 90) {
				prevKontrol = siracUydu.motorKontrolDurumu;
				siracUydu.motorKontrolDurumu = DEVRE_DISI;
			} else if (siracUydu.motorKontrolDurumu == DEVRE_DISI) {
				siracUydu.motorKontrolDurumu = prevKontrol;
			}
		}
		switch (siracUydu.motorKontrolDurumu) {
		case (OTOMATIK_INIS):
			/*clockPrevious = clockNow;
			clockNow = HAL_GetTick();
			dt = ((float) (clockNow - clockPrevious) / 1000.0)
					+ siracUydu.sensorVerisi.dt;
			if (IS_IN_RANGE(
					siracUydu.sensorVerisi.irtifHizVerisi.KFClimbrateMps,
					siracUydu.sensorVerisi.kararAraliklari.InisHizi_max,
					siracUydu.sensorVerisi.kararAraliklari.InisHizi_min)) {
				PID(siracUydu.sensorVerisi.kararAraliklari.InisHizi,
						siracUydu.sensorVerisi.kararAraliklari.InisHizi, dt);
			} else {
				PID(siracUydu.sensorVerisi.irtifHizVerisi.KFClimbrateMps,
						siracUydu.sensorVerisi.kararAraliklari.InisHizi, dt);
			}
			motorTahrik(PID1.pwm, PID1.pwm);*/
		motorTahrik(MOTOR_PWM_CALC(siracUydu.sensorVerisi.kararAraliklari.InisHizi), MOTOR_PWM_CALC(siracUydu.sensorVerisi.kararAraliklari.InisHizi));
			break;
		case (MANUEL):
			if (siracUydu.uyduDurumu == BEKLEME) {			//timer start
				if (!osTimerIsRunning(
						TahrikTimerHandle) && !CHECK_FLAG(timersFlag, motorTahrikTimeoutFlag)) {
					osTimerStart(TahrikTimerHandle,
							pdMS_TO_TICKS(
									siracUydu.yerIstKomutu.motorTahrikSuresi
											* 1000));
				}
				motorTahrik(
						MOTOR_PWM_CALC(siracUydu.yerIstKomutu.motorTahrikGucu),
						MOTOR_PWM_CALC(siracUydu.yerIstKomutu.motorTahrikGucu));
			}
			break;
		case (DEVRE_DISI):
			motorTahrik(PWM_ARM, PWM_ARM);
			break;
		}
		osDelay(25);
	}
	/* USER CODE END StartMotorTask */
}

void StartDataCom(void *argument) {
	/* USER CODE BEGIN StartDataCom */
	//uint16_t a = uxTaskGetStackHighWaterMark(NULL);
	/*
	 * STACK SIZE 1765
	 */
	memset(ESP_line, '\0', ESP32_MAX_LENGTH);
	HAL_UART_Receive_IT(&huart3, &esp_rx_d, 1); //Enable UART INT for gps
	/* Infinite loop */
	for (;;) {

		findFlightState();

		if (siracUydu.telemetri.GY_telemetriVeriDurumu
				== TELEMETRI_VERISI_GEREKLI) {
			sendTelem();
			saveToSD();
			savePacketNum();
			saveFlightState();
			siracUydu.telemetri.GY_telemetriVeriDurumu =
					TELEMETRI_VERISI_GEREKLI_DEGIL;

			siracUydu.sensorVerisi.irtifHizVerisi.PrevAltitude_m =
					siracUydu.sensorVerisi.irtifHizVerisi.RelativeAltitude_m;
			osTimerStart(TelemetriTimerHandle, pdMS_TO_TICKS(500));
		}
		if (CHECK_FLAG(uartFlag, UART_LORA)) {
			UART_decode_process(LORA_line, strlen((char*) LORA_line));
			memset(LORA_line, '\0', LORA_MAX_LENGTH);
			CLEAR_FLAG(uartFlag, UART_LORA);
			HAL_UARTEx_ReceiveToIdle_DMA(LORA_UART, LORA_line, LORA_MAX_LENGTH);
			__HAL_DMA_DISABLE_IT(&hdma_usart6_rx, DMA_IT_HT);
		}
		if (LORA_line[29] != '\0') {
			memset(LORA_line, '\0', LORA_MAX_LENGTH);
		}
		osDelay(25);
	}
	/* USER CODE END StartDataCom */
}

/* USER CODE BEGIN Header_StartSensors */
/**
 * @brief Function implementing the SensorsTask thread.
 * @param argument: Not used
 * @retval None
 */
#define ALT_IIR 80
/* USER CODE END Header_StartSensors */
void StartSensors(void *argument) {
	/* USER CODE BEGIN StartSensors */
	enableHardware();
	uint32_t clockNow, clockPrevious;

	MotorTaskHandle = osThreadNew(StartMotorTask, NULL, &MotorTask_attributes);
	DataComTaskHandle = osThreadNew(StartDataCom, NULL,
			&DataComTask_attributes);

	clockNow = xTaskGetTickCount();

	float tempAlt_m = 0.0;

//	uint16_t a = uxTaskGetStackHighWaterMark(NULL);
	/*
	 * STACK SIZE 840
	 */
	/* Infinite loop */
	for (;;) {
		readAll(IMU_I2C, &siracUydu.sensorVerisi.imu);
		siracUydu.sensorVerisi.imu.axNEDmG = -siracUydu.sensorVerisi.imu.AccelY
				* 1000;
		siracUydu.sensorVerisi.imu.ayNEDmG = -siracUydu.sensorVerisi.imu.AccelX
				* 1000;
		siracUydu.sensorVerisi.imu.azNEDmG = siracUydu.sensorVerisi.imu.AccelZ
				* 1000;
		siracUydu.sensorVerisi.imu.gravityCompensatedAccelMg =
				imu_gravityCompensatedAccel(siracUydu.sensorVerisi.imu.axNEDmG,
						siracUydu.sensorVerisi.imu.ayNEDmG,
						siracUydu.sensorVerisi.imu.azNEDmG);

		ringbuf_addSample(siracUydu.sensorVerisi.imu.gravityCompensatedAccelMg,
				&AccRingBuf);

		siracUydu.sensorVerisi.imu.zAccelAverage = ringbuf_averageNewestSamples(
				10, &AccRingBuf);

		if (MS5611_SampleStateMachine(&siracUydu.sensorVerisi.baro)
				== MS5611_PRES_DATA_READY) {

			ringbuf_addSample(siracUydu.sensorVerisi.baro.Pres_hpa,
					&BaroRingBuf);

			siracUydu.sensorVerisi.baro.avgPres_hpa =
					ringbuf_averageNewestSamples(12, &BaroRingBuf);

			siracUydu.sensorVerisi.irtifHizVerisi.Altitude_cm = __getAlt(
					siracUydu.sensorVerisi.baro.avgPres_hpa,
					siracUydu.sensorVerisi.baro.Temp_C,
					ALTITUDE_REFERENCE_PRESSURE) * 100.0f;
			clockPrevious = clockNow;
			clockNow = xTaskGetTickCount();
			siracUydu.sensorVerisi.dt = ((float) (clockNow - clockPrevious)
					/ 1000.0f);

			kalmanFilter4d_predict(siracUydu.sensorVerisi.dt);
			kalmanFilter4d_update(
					siracUydu.sensorVerisi.irtifHizVerisi.Altitude_cm,
					siracUydu.sensorVerisi.imu.zAccelAverage,
					&siracUydu.sensorVerisi.irtifHizVerisi);

			siracUydu.sensorVerisi.irtifHizVerisi.RelativeAltitude_m =
					(siracUydu.sensorVerisi.irtifHizVerisi.KFAltitudeCm
							- siracUydu.sensorVerisi.irtifHizVerisi.GroundAltitude_cm)
							/ 100.0f;

			siracUydu.sensorVerisi.irtifHizVerisi.RelativeAltitude_m =
					(tempAlt_m * (float) ALT_IIR
							+ siracUydu.sensorVerisi.irtifHizVerisi.RelativeAltitude_m
									* (100.0f - (float) ALT_IIR)) / 100.0f;
			tempAlt_m =
					siracUydu.sensorVerisi.irtifHizVerisi.RelativeAltitude_m;

			siracUydu.sensorVerisi.irtifHizVerisi.KFClimbrateMps =
					siracUydu.sensorVerisi.irtifHizVerisi.KFClimbrateCps
							/ 100.0f;
		}
		getBatVolt();
		getUVSensor();
		if (esp_rx_d == '\n') {
			UART_decode_process(ESP_line, strlen((char*) ESP_line));
			memset(ESP_line, '\0', ESP32_MAX_LENGTH);
			CLEAR_FLAG(uartFlag, UART_ESP);
			CLEAR_SENS_ERR(siracUydu.donanimDurumu, ESP32_ERROR);
			esp_rx_i = 0;
			esp_rx_d = 0;
			HAL_UART_Receive_IT(&huart3, &esp_rx_d, 1); //Receive GPS char on every interrupt
		}
		osDelay(25);
	}
	/* USER CODE END StartSensors */
}

/* TelemTimCall function */
void TelemTimCall(void *argument) {
	/* USER CODE BEGIN TelemTimCall */
	siracUydu.telemetri.GY_telemetriVeriDurumu = TELEMETRI_VERISI_GEREKLI;
	/* USER CODE END TelemTimCall */
}

/* TimeoutTimerCall function */
void TimeoutTimerCall(void *argument) {
	/* USER CODE BEGIN TimeoutTimerCall */
	SET_FLAG(timersFlag, (TimersFlag_typedef )argument);
	/* USER CODE END TimeoutTimerCall */
}

/* TahrikTimerCall function */
void TahrikTimerCall(void *argument) {
	/* USER CODE BEGIN TahrikTimerCall */
	SET_FLAG(timersFlag, motorTahrikTimeoutFlag);
	siracUydu.motorKontrolDurumu = DEVRE_DISI;
	/* USER CODE END TahrikTimerCall */
}
